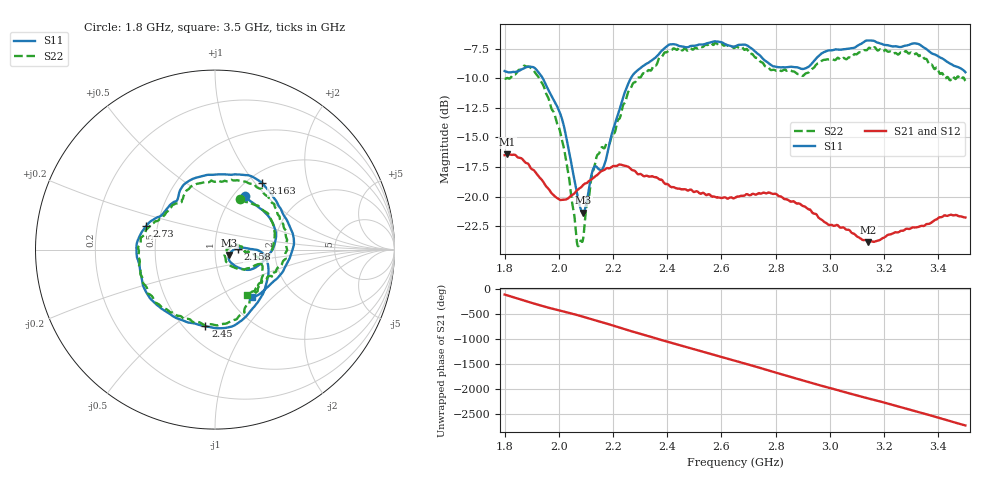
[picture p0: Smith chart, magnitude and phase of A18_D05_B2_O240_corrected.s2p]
! Created with skrf 1.9.0 (http://scikit-rf.org).
# Hz S RI R 50.0
!freq ReS11 ImS11 ReS21 ImS21 ReS12 ImS12 ReS22 ImS22
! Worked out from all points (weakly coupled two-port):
!   1601 points, 1.8 GHz to 3.5 GHz, reference 50 ohm
!   highest |S21| = -16.42 dB at 1.811 GHz (marker M1); lowest = -23.8 dB at 3.142 GHz (marker M2)
!   lowest |S11| = -21.3 dB at 2.09 GHz (marker M3), VSWR 1.19, Z = 58.6 - j3.57 ohm
!   |S11| at or under -10 dB: 1.941 GHz to 2.266 GHz (325.1 MHz wide, 15.5 % of centre)
!   |S22| runs from -24.2 to -7.0 dB; largest |S21 - S12| = 0.0028
!   S11 on the Smith chart (normalised r, x): 1.8 GHz: 1.13, +0.75; 2.158 GHz: 1.30, +0.00; 2.45 GHz: 0.63, -0.66; 2.73 GHz: 0.43, +0.14; 3.163 GHz: 1.17, +1.09; 3.5 GHz: 1.26, -0.76
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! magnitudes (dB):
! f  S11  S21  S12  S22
! 1.8 GHz  -9.4  -16.5  -16.5  -10.0
! 1.811 GHz  -9.5  -16.4  -16.4  -10.0
! 1.881 GHz  -9.1  -17.2  -17.2  -9.0
! 1.942 GHz  -10.1  -18.7  -18.7  -10.6
! 2.011 GHz  -13.4  -20.3  -20.3  -15.2
! 2.068 GHz  -19.8  -19.4  -19.5  -24.0
! 2.084 GHz  -21.2  -19.2  -19.1  -23.8
! 2.09 GHz  -21.3  -19.0  -19.0  -23.5
! 2.127 GHz  -17.6  -18.4  -18.4  -17.8
! 2.158 GHz  -17.7  -17.8  -17.8  -15.8
! 2.262 GHz  -10.2  -17.6  -17.6  -11.0
! 2.367 GHz  -8.0  -18.5  -18.4  -8.4
! 2.45 GHz  -7.3  -19.4  -19.4  -7.6
! 2.65 GHz  -7.3  -20.1  -20.1  -7.4
! 2.73 GHz  -7.9  -19.8  -19.8  -8.3
! 2.799 GHz  -9.0  -19.7  -19.7  -9.4
! 2.934 GHz  -8.8  -21.3  -21.3  -9.2
! 3.142 GHz  -6.8  -23.8  -23.7  -7.5
! 3.163 GHz  -6.9  -23.8  -23.8  -7.4
! 3.217 GHz  -7.2  -23.2  -23.2  -7.8
! 3.326 GHz  -7.1  -22.6  -22.5  -8.1
! 3.5 GHz  -9.5  -21.7  -21.7  -10.2
